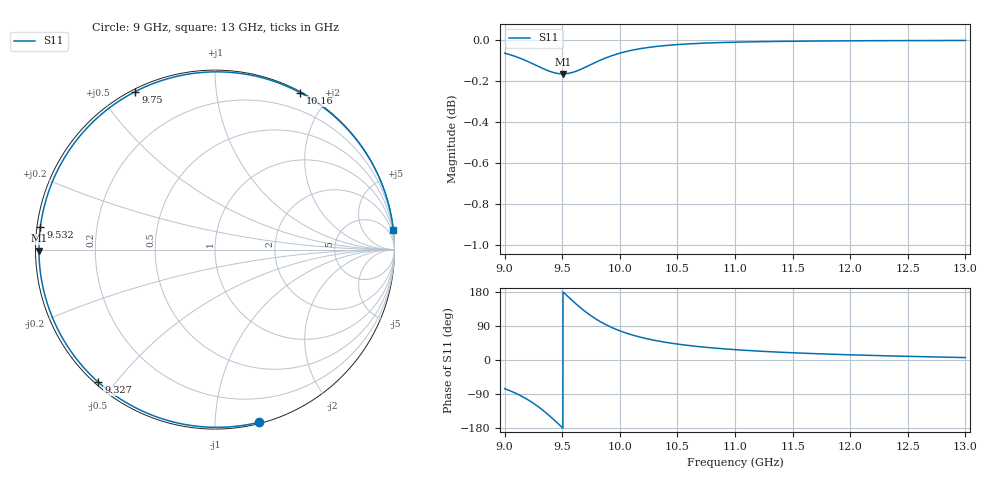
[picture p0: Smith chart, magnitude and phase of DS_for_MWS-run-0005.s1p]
! TOUCHSTONE file generated by CST DESIGN STUDIO
! Date and time: Tue Feb  4 15:55:10 2025
! Project name: C:\Work\MatlabApps\UnitCellOptimizationMatlab\CST\unitcell.cst
! Tree item: Tasks\Sweep1\SPara1\S-Parameters
! Header version: 2024
! Port assignment regex: !\s*Touchstone port\s*([0-9]+)\s*=\s*(CST MWS port|CST DES external port|CST DES block port)\s*(.+)\s* \(\"(.*)\"\)(\s*mode\s*([0-9]+))?.*
! Touchstone port assignment:
! Touchstone port 1 = CST DES external port 1 ("")
# GHz S MA R 50
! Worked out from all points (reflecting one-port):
!   4001 points, 9 GHz to 13 GHz, reference 50 ohm
!   lowest |S11| = -0.2 dB at 9.505 GHz (marker M1), VSWR 104.66, Z = 0.478 - j0.154 ohm
!   phase of S11 starts at -76 deg and turns -278 deg over the sweep
!   S11 on the Smith chart (normalised r, x): 9 GHz: 0.01, -1.29; 9.327 GHz: 0.01, -0.45; 9.532 GHz: 0.01, +0.06; 9.75 GHz: 0.01, +0.62; 10.16 GHz: 0.01, +1.68; 13 GHz: 0, +18
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9  0.9925 -75.6
9.086  0.9908 -86.3
9.189  0.9882 -102.5
9.261  0.9861 -116.4
9.327  0.9842 -131.3
9.373  0.9829 -142.9
9.422  0.9818 -156.0
9.462  0.9813 -167.3
9.5  0.9811 -178.2
9.505  0.9811 -179.6
9.532  0.9812 172.6
9.586  0.9818 157.3
9.646  0.9832 141.1
9.697  0.9846 128.6
9.75  0.9862 116.7
9.802  0.9878 106.4
9.859  0.9894 96.4
9.929  0.9911 86.0
10  0.9925 77.0
10.163  0.9948 61.4
10.316  0.9962 51.0
10.5  0.9973 42.0
10.722  0.9981 34.2
11  0.9986 27.3
11.5  0.9992 19.1
12  0.9994 13.7
12.5  0.9995 9.6
13  0.9996 6.4
